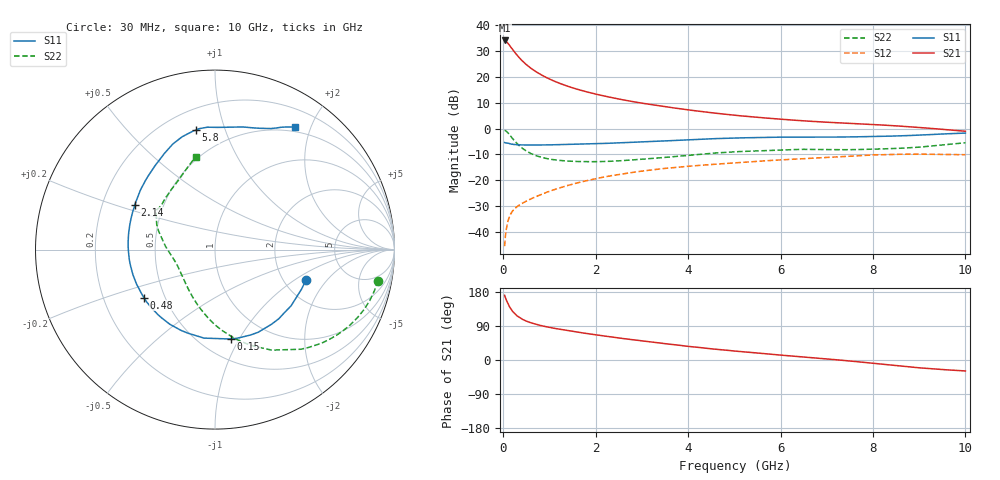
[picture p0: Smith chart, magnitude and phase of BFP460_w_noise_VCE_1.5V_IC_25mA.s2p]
! (c) 2016  Infineon Technologies AG, Munich
! Infineon Technologies  Discrete & RF Semiconductors
! BFP460
! VCE =  1.5 V,  IC =  25 mA
! Common Emitter S-Parameters:  Jan 2016
# GHz  S  MA  R  50
!  f  S11  S21  S12  S22
! GHz  MAG  ANG  MAG  ANG  MAG  ANG  MAG  ANG
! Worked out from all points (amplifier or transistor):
!   229 points, 30 MHz to 10 GHz, reference 50 ohm
!   highest |S21| = 34.2 dB at 30 MHz (marker M1)
!   |S21| within 3 dB of that: start of sweep to 181.8 MHz
!   unconditionally stable (mu >= 1): 1.557 GHz to 8.858 GHz
!   at 280 MHz: K = 0.49, MSG = 29.8 dB, |S12| = -30.6 dB
!   at 1.78 GHz: K = 1.01, MAG = 16.6 dB, |S12| = -20.3 dB
!   at 10 GHz: K = 0.99, MSG = 4.6 dB, |S12| = -10.2 dB
!   lowest NFmin = 1.36 dB at 450 MHz
!   S11 on the Smith chart (normalised r, x): 30 MHz: 2.61, -1.25; 150 MHz: 0.69, -0.93; 480 MHz: 0.38, -0.26; 2.14 GHz: 0.34, +0.23; 5.8 GHz: 0.33, +0.80; 10 GHz: 0.43, +1.76
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0.03  0.5344 -18.7  51.23 170.6  0.0052 83.8  0.9241 -10.8
0.05  0.5259 -29.7  49.83 163.3  0.0087 77.7  0.9075 -18.3
0.07  0.5226 -42.2  48.48 157.2  0.0115 75.1  0.8802 -25.4
0.09  0.5217 -52.8  46.43 151.8  0.0143 70.8  0.8461 -32.1
0.12  0.5154 -67.4  43.08 144.1  0.0179 66.3  0.7902 -41.3
0.15  0.5063 -79.8  39.65 137.6  0.0209 62.5  0.7323 -49.3
0.2  0.4969 -97.1  34.5 128.7  0.0249 58.2  0.6437 -60.5
0.24  0.4895 -108.0  30.93 123.3  0.0273 56.2  0.5832 -67.6
0.3  0.4861 -121.2  26.48 116.4  0.0304 54.3  0.5093 -77.3
0.4  0.4802 -136.9  21.09 108.3  0.0348 53.4  0.4223 -89.5
0.48  0.4779 -146.0  18.06 103.7  0.0382 53.7  0.3753 -97.0
0.68  0.4776 -161.6  13.18 95.2  0.0465 55.3  0.3047 -111.9
0.9  0.4807 -173.1  10.1 88.5  0.056 56.7  0.2658 -123.9
1.2  0.4855 175.5  7.657 81.5  0.0694 57.4  0.2412 -135.8
1.7  0.4972 161.3  5.462 71.8  0.0924 56.2  0.2279 -149.4
2.14  0.5114 150.7  4.366 64.2  0.1125 53.7  0.2286 -159.0
3.4  0.5691 127.0  2.736 44.6  0.1643 43.5  0.2704 178.1
5.1  0.6574 105.2  1.776 22.7  0.2184 30.4  0.3566 155.7
5.8  0.675 99.0  1.567 15.2  0.2402 25.1  0.3778 150.0
6.8  0.6814 90.7  1.357 4.9  0.2684 17.9  0.3913 144.7
8.4  0.7122 72.1  1.141 -13.5  0.3141 3.4  0.4072 129.0
10  0.8153 56.9  0.885 -28.9  0.3101 -9.2  0.5289 101.7
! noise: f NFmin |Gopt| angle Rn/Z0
0.45  1.36  0.13  -171  0.13
0.9  1.38  0.11  -170  0.13
1.9  1.49  0.23  -146  0.13
3.5  1.42  0.46  -122  0.16
